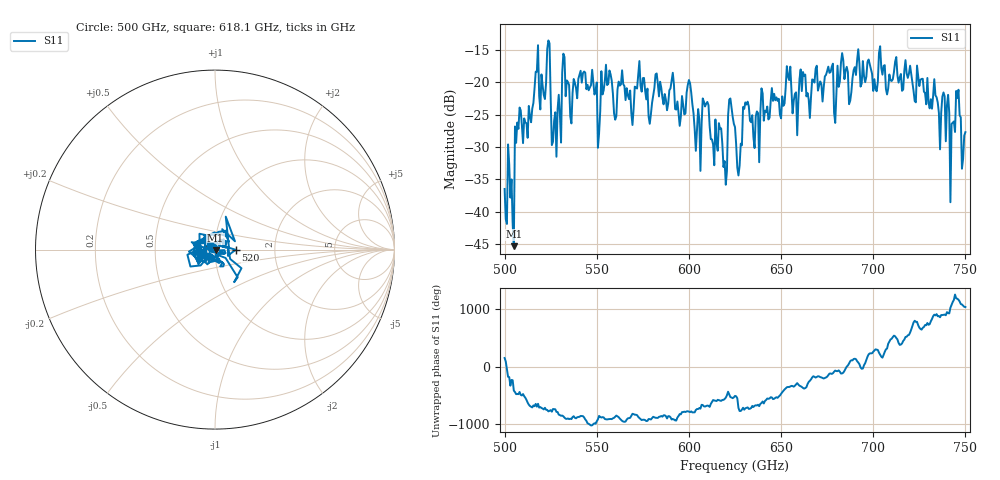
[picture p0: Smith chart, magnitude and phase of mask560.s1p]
!Created with skrf (http://scikit-rf.org).
# GHz S MA R 50.0
!freq magS11 angS11
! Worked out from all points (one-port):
!   401 points, 500 GHz to 750 GHz, reference 50 ohm
!   lowest |S11| = -45.3 dB at 505 GHz (marker M1), VSWR 1.01, Z = 50.3 - j0.463 ohm
!   |S11| at or under -10 dB: start of sweep to end of sweep
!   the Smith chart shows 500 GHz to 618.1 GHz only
!   S11 on the Smith chart (normalised r, x): 500 GHz: 0.97, +0.01; 520 GHz: 1.26, -0.00; 618.1 GHz: 0.95, +0.04
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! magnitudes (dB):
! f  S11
! 500 GHz  -36.5
! 505 GHz  -45.3
! 506.9 GHz  -26.2
! 520 GHz  -18.8
! 523.8 GHz  -13.5
! 526.9 GHz  -25.9
! 531.2 GHz  -18.5
! 542.5 GHz  -18.6
! 550.6 GHz  -30.1
! 562.5 GHz  -20.5
! 590.6 GHz  -19.8
! 593.8 GHz  -23.0
! 600 GHz  -19.7
! 605 GHz  -24.1
! 608.8 GHz  -23.7
! 618.1 GHz  -29.5
! 619.4 GHz  -32.2
! 622.5 GHz  -22.5
! 625 GHz  -26.9
! 627.5 GHz  -32.9
! 630.6 GHz  -23.1
! 636.9 GHz  -24.5
! 656.2 GHz  -24.8
! 687.5 GHz  -22.9
! 718.8 GHz  -19.3
! 743.1 GHz  -26.2
! 746.2 GHz  -21.2
! 750 GHz  -27.7
